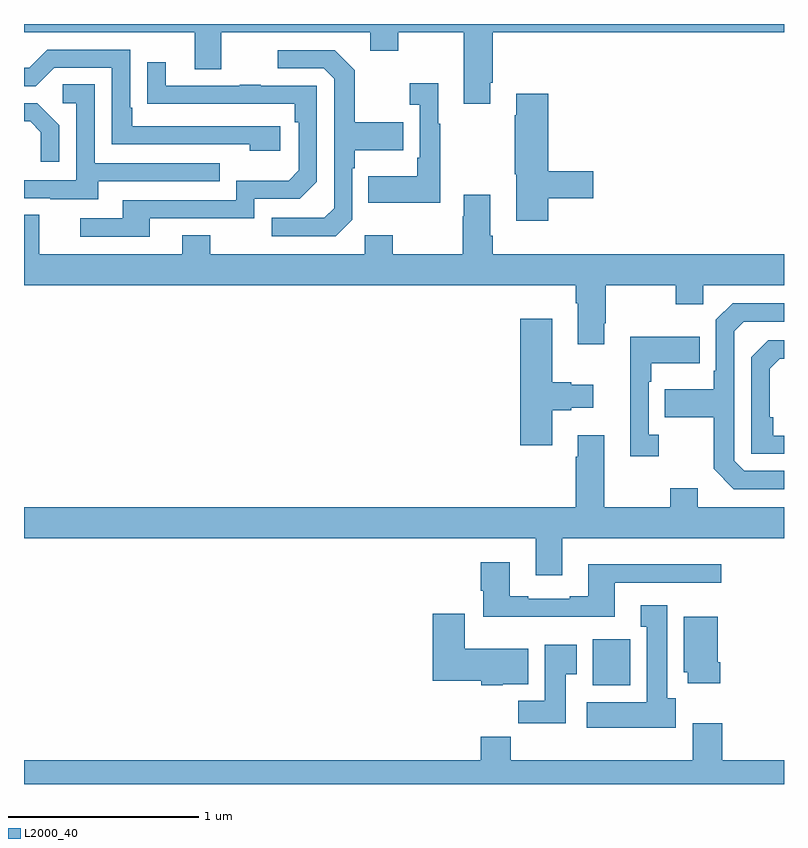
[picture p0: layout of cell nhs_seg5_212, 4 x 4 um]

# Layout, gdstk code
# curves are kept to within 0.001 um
import gdstk
lib = gdstk.Library(unit=1e-6, precision=1e-09)
def R(c, l, rs):  # rectangles x0, y0, x1, y1
    for r in rs: c.add(gdstk.rectangle(r[:2], r[2:], *l))
def P(c, l, *ps):  # polygons
    for p in ps: c.add(gdstk.Polygon(p, *l))
L2000_40 = (2000, 40)

nhs_seg5_212 = lib.new_cell('nhs_seg5_212')
R(nhs_seg5_212, L2000_40, [(125.993,857.318,126.19,857.56)])
P(nhs_seg5_212, L2000_40, [(127,860.799),(123,860.799),(123,860.756),(123.899,860.756),(123.899,860.562),(124.039,860.562),(124.039,860.756),(124.823,860.756),(124.823,860.657),(124.971,860.657),(124.971,860.756),(125.315,860.756),(125.315,860.379),(125.455,860.379),(125.455,860.491),(125.468,860.491),(125.468,860.756),(127,860.756)],
  [(124.348,860.262),(123.571,860.262),(123.571,860.359),(123.558,860.359),(123.558,860.664),(123.123,860.664),(123.027,860.568),(123,860.568),(123,860.472),(123.063,860.472),(123.159,860.568),(123.462,860.568),(123.462,860.166),(124.187,860.166),(124.187,860.132),(124.348,860.132)],
  [(124.728,859.77),(124.728,860.039),(124.741,860.039),(124.741,860.135),(124.997,860.135),(124.997,860.283),(124.741,860.283),(124.741,860.555),(124.635,860.661),(124.335,860.661),(124.335,860.565),(124.578,860.565),(124.632,860.511),(124.632,859.83),(124.581,859.779),(124.305,859.779),(124.305,859.683),(124.641,859.683)],
  [(123.661,859.776),(124.212,859.776),(124.212,859.878),(124.452,859.878),(124.542,859.968),(124.542,860.475),(124.247,860.475),(124.247,860.48),(124.135,860.48),(124.135,860.475),(123.745,860.475),(123.745,860.599),(123.649,860.599),(123.649,860.38),(124.426,860.379),(124.426,860.282),(124.446,860.282),(124.446,860.028),(124.393,859.975),(124.116,859.975),(124.116,859.872),(123.521,859.872),(123.521,859.776),(123.297,859.776),(123.297,859.68),(123.661,859.68)],
  [(125.191,860.275),(125.179,860.275),(125.179,860.488),(125.031,860.488),(125.031,860.375),(125.082,860.375),(125.082,860.095),(125.07,860.095),(125.07,859.999),(124.813,859.999),(124.813,859.859),(125.191,859.859)],
  [(123.391,859.971),(124.031,859.971),(124.031,860.067),(123.372,860.067),(123.372,860.483),(123.204,860.483),(123.204,860.382),(123.276,860.382),(123.276,859.977),(123,859.977),(123,859.881),(123.137,859.881),(123.137,859.877),(123.391,859.877)],
  [(125.759,859.882),(125.995,859.882),(125.995,860.024),(125.759,860.024),(125.759,860.431),(125.591,860.431),(125.591,860.318),(125.584,860.318),(125.584,860.007),(125.591,860.007),(125.591,859.764),(125.759,859.764)],
  [(123.186,860.266),(123.07,860.382),(123,860.382),(123,860.286),(123.032,860.286),(123.089,860.229),(123.089,860.073),(123.186,860.073)],
  [(126.055,859.225),(126.063,859.225),(126.063,859.424),(126.43,859.424),(126.43,859.325),(126.576,859.325),(126.576,859.424),(127,859.424),(127,859.588),(125.468,859.588),(125.468,859.684),(125.455,859.684),(125.455,859.9),(125.315,859.9),(125.315,859.787),(125.308,859.787),(125.308,859.588),(124.941,859.588),(124.941,859.687),(124.794,859.687),(124.794,859.588),(123.981,859.588),(123.981,859.687),(123.833,859.687),(123.833,859.588),(123.079,859.588),(123.079,859.796),(123,859.796),(123,859.424),(125.903,859.424),(125.903,859.328),(125.915,859.328),(125.915,859.113),(126.055,859.113)],
  [(127,858.447),(126.792,858.447),(126.738,858.501),(126.738,859.182),(126.789,859.233),(127,859.233),(127,859.329),(126.729,859.329),(126.642,859.242),(126.642,858.973),(126.63,858.973),(126.63,858.877),(126.373,858.877),(126.373,858.73),(126.63,858.73),(126.63,858.457),(126.735,858.351),(127,858.351)],
  [(125.779,858.767),(125.879,858.767),(125.879,858.779),(125.995,858.779),(125.995,858.901),(125.879,858.901),(125.879,858.914),(125.779,858.914),(125.779,859.249),(125.612,859.249),(125.612,858.582),(125.779,858.582)],
  [(126.34,858.638),(126.288,858.638),(126.288,858.917),(126.301,858.917),(126.301,859.013),(126.557,859.013),(126.557,859.153),(126.191,859.153),(126.191,858.525),(126.34,858.525)],
  [(127,858.633),(126.944,858.633),(126.944,858.73),(126.924,858.73),(126.924,858.984),(126.977,859.037),(127,859.037),(127,859.134),(126.918,859.134),(126.828,859.044),(126.828,858.537),(127,858.537)],
  [(125.833,858.092),(127,858.092),(127,858.256),(126.547,858.256),(126.547,858.355),(126.4,858.355),(126.4,858.256),(126.055,858.256),(126.055,858.634),(125.915,858.634),(125.915,858.521),(125.903,858.521),(125.903,858.256),(123,858.256),(123,858.092),(125.693,858.092),(125.693,857.898),(125.833,857.898)],
  [(126.109,857.859),(126.67,857.859),(126.67,857.956),(125.969,857.956),(125.969,857.788),(125.873,857.788),(125.873,857.775),(125.653,857.775),(125.653,857.788),(125.557,857.788),(125.557,857.965),(125.405,857.965),(125.405,857.817),(125.417,857.817),(125.417,857.678),(126.109,857.678)],
  [(126.43,857.25),(126.385,857.25),(126.385,857.74),(126.245,857.74),(126.245,857.627),(126.278,857.627),(126.278,857.23),(125.961,857.23),(125.961,857.096),(126.43,857.096)],
  [(125.52,857.324),(125.653,857.324),(125.653,857.512),(125.32,857.512),(125.32,857.695),(125.15,857.695),(125.15,857.342),(125.406,857.342),(125.406,857.318),(125.52,857.318)],
  [(126.665,857.44),(126.652,857.44),(126.652,857.68),(126.473,857.68),(126.473,857.388),(126.494,857.388),(126.494,857.328),(126.665,857.328)],
  [(125.851,857.377),(125.908,857.377),(125.908,857.533),(125.741,857.533),(125.741,857.236),(125.602,857.236),(125.602,857.118),(125.851,857.118)],
  [(125.561,857.048),(125.405,857.048),(125.405,856.924),(123,856.924),(123,856.799),(127,856.799),(127,856.924),(126.674,856.924),(126.674,857.119),(126.521,857.119),(126.521,856.924),(125.561,856.924)])

lib.write_gds('nhs_seg5_212.gds')
